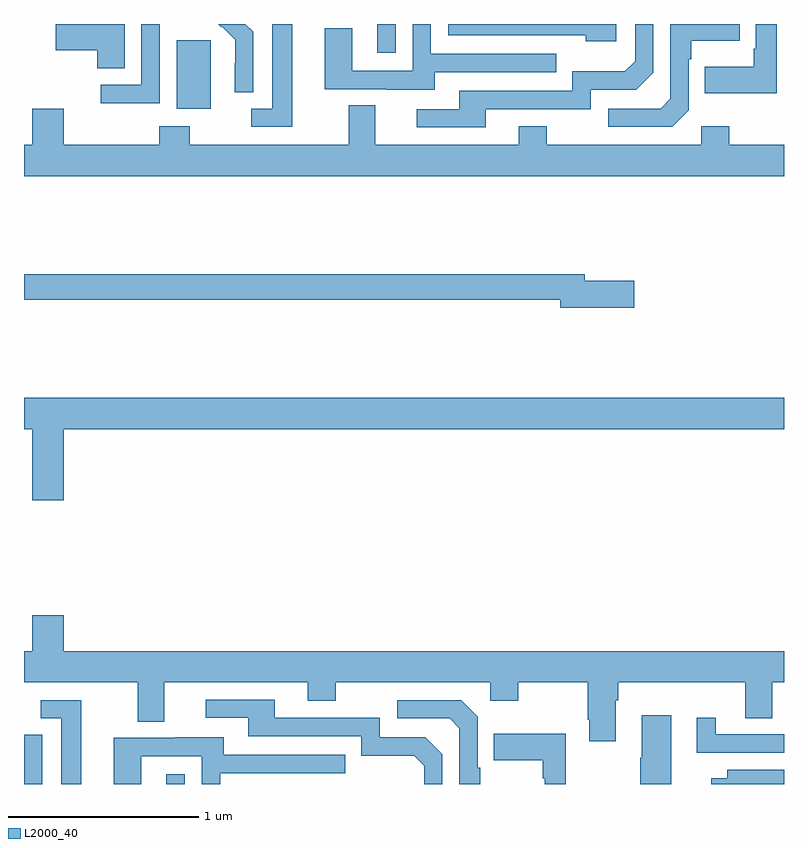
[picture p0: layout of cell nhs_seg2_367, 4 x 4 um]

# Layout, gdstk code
import gdstk
lib = gdstk.Library(unit=1e-6, precision=1e-09)
def R(c, l, rs):  # rectangles x0, y0, x1, y1
    for r in rs: c.add(gdstk.rectangle(r[:2], r[2:], *l))
def P(c, l, *ps):  # polygons
    for p in ps: c.add(gdstk.Polygon(p, *l))
L2000_40 = (2000, 40)

nhs_seg2_367 = lib.new_cell('nhs_seg2_367')
R(nhs_seg2_367, L2000_40, [(129.749,613.8,129.846,613.852), (129.803,617.354,129.982,617.715), (130.859,617.649,130.956,617.8)])
P(nhs_seg2_367, L2000_40, [(131.161,617.547),(131.801,617.547),(131.801,617.643),(131.142,617.643),(131.142,617.8),(131.046,617.8),(131.046,617.553),(130.728,617.553),(130.728,617.777),(130.583,617.777),(130.583,617.457),(130.907,617.457),(130.907,617.453),(131.161,617.453)],
  [(130.411,617.8),(130.307,617.8),(130.307,617.355),(130.197,617.355),(130.197,617.259),(130.411,617.259)],
  [(132.961,617.8),(132.852,617.8),(132.852,617.671),(132.84,617.671),(132.84,617.575),(132.583,617.575),(132.583,617.435),(132.961,617.435)],
  [(131.431,617.352),(131.982,617.352),(131.982,617.454),(132.222,617.454),(132.312,617.544),(132.312,617.8),(132.216,617.8),(132.216,617.604),(132.163,617.551),(131.886,617.551),(131.886,617.448),(131.291,617.448),(131.291,617.352),(131.067,617.352),(131.067,617.256),(131.431,617.256)],
  [(129.529,617.8),(129.168,617.8),(129.168,617.662),(129.386,617.662),(129.386,617.566),(129.529,617.566)],
  [(132.498,617.346),(132.498,617.615),(132.511,617.615),(132.511,617.711),(132.767,617.711),(132.767,617.8),(132.402,617.8),(132.402,617.406),(132.351,617.355),(132.075,617.355),(132.075,617.259),(132.411,617.259)],
  [(132.118,617.8),(131.232,617.8),(131.232,617.742),(131.957,617.742),(131.957,617.708),(132.118,617.708)],
  [(129.714,617.8),(129.618,617.8),(129.618,617.481),(129.405,617.481),(129.405,617.383),(129.714,617.383)],
  [(130.206,617.758),(130.164,617.8),(130.022,617.8),(130.038,617.784),(130.041,617.787),(130.112,617.717),(130.112,617.594),(130.11,617.594),(130.11,617.44),(130.206,617.44)],
  [(133,617.164),(132.711,617.164),(132.711,617.263),(132.564,617.263),(132.564,617.164),(131.751,617.164),(131.751,617.263),(131.603,617.263),(131.603,617.164),(130.849,617.164),(130.849,617.372),(130.709,617.372),(130.709,617.164),(129.873,617.164),(129.873,617.263),(129.713,617.263),(129.713,617.164),(129.208,617.164),(129.208,617.353),(129.044,617.353),(129.044,617.164),(129,617.164),(129,617),(133,617)],
  [(132.211,616.448),(131.95,616.448),(131.95,616.484),(129,616.484),(129,616.348),(131.822,616.348),(131.822,616.306),(132.211,616.306)],
  [(129.208,615.668),(133,615.668),(133,615.832),(129,615.832),(129,615.668),(129.044,615.668),(129.044,615.294),(129.208,615.294)],
  [(132.115,614.24),(132.128,614.24),(132.128,614.336),(132.797,614.336),(132.797,614.146),(132.937,614.146),(132.937,614.336),(133,614.336),(133,614.5),(129.208,614.5),(129.208,614.689),(129.044,614.689),(129.044,614.5),(129,614.5),(129,614.336),(129.599,614.336),(129.599,614.128),(129.739,614.128),(129.739,614.336),(130.493,614.336),(130.493,614.237),(130.641,614.237),(130.641,614.336),(131.454,614.336),(131.454,614.237),(131.601,614.237),(131.601,614.336),(131.968,614.336),(131.968,614.137),(131.975,614.137),(131.975,614.025),(132.115,614.025)],
  [(131.202,613.956),(131.112,614.046),(130.872,614.046),(130.872,614.148),(130.321,614.148),(130.321,614.244),(129.957,614.244),(129.957,614.148),(130.181,614.148),(130.181,614.052),(130.776,614.052),(130.776,613.949),(131.053,613.949),(131.106,613.896),(131.106,613.8),(131.202,613.8)],
  [(131.401,613.885),(131.388,613.885),(131.388,614.154),(131.301,614.241),(130.965,614.241),(130.965,614.145),(131.241,614.145),(131.292,614.094),(131.292,613.8),(131.401,613.8)],
  [(129.301,614.241),(129.087,614.241),(129.087,614.145),(129.197,614.145),(129.197,613.8),(129.301,613.8)],
  [(132.406,614.161),(132.251,614.161),(132.251,613.937),(132.244,613.937),(132.244,613.8),(132.406,613.8)],
  [(133,614.061),(132.64,614.061),(132.64,614.149),(132.542,614.149),(132.542,613.965),(133,613.965)],
  [(131.851,614.065),(131.473,614.065),(131.473,613.925),(131.73,613.925),(131.73,613.829),(131.742,613.829),(131.742,613.8),(131.851,613.8)],
  [(129.096,614.06),(129,614.06),(129,613.906),(129.002,613.906),(129.002,613.8),(129.096,613.8)],
  [(129.618,613.947),(129.936,613.947),(129.936,613.8),(130.032,613.8),(130.032,613.857),(130.691,613.857),(130.691,613.953),(130.051,613.953),(130.051,614.047),(129.797,614.047),(129.797,614.043),(129.473,614.043),(129.473,613.8),(129.618,613.8)],
  [(133,613.876),(132.701,613.876),(132.701,613.831),(132.617,613.831),(132.617,613.8),(133,613.8)])

lib.write_gds('nhs_seg2_367.gds')
